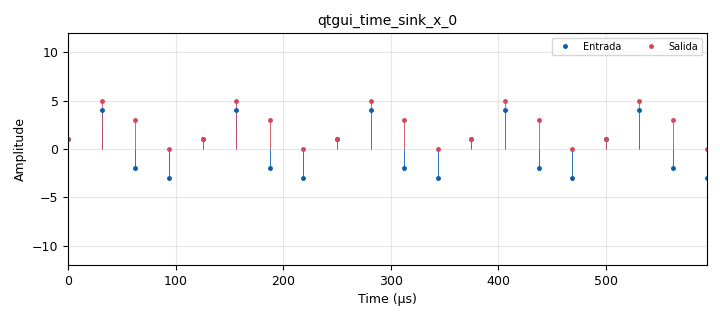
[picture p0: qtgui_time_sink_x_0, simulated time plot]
options:
  parameters:
    author: Gabriela
    copyright: UIS
    description: ejemplo de un acumulador
    generate_options: qt_gui
    id: miprimer
    output_language: python
    title: miprimer
  states: {}

blocks:
- name: samp_rate
  id: variable
  parameters:
    value: '32000'
  states: {}
- name: blocks_vector_source_x_0
  id: blocks_vector_source_x
  parameters:
    repeat: 'True'
    type: float
    vector: (1,4,-2,-3)
  states: {}
- name: epy_block_0
  id: epy_block
  parameters:
    _source_code: "import numpy as np\nfrom gnuradio import gr\n\n\nclass blk(gr.sync_block):  \n\n\n\tdef __init__(self,):  \n\t\t\"\"\"Bloque acumulador simplemente toma la senal entrante y entrega una senal acumulada\"\"\"\n\t\tgr.sync_block.__init__( \n\t\tself,\n\t\tname='Acumulador',\n\t\tin_sig=[np.float32],\n\t\tout_sig=[np.float32]\n\t\t)\n\t\tself.acum_anterior=0\n\n\tdef work(self, input_items, output_items):\n\t\tx=input_items[0]\n\t\ty=output_items[0]\n\t\tN=len(x)\n\t\ty[:]=self.acum_anterior+np.cumsum(x)#se usa esto debido a que se quiere saber el acumulado de toda \t\t\t#la señal no solo el de un vector\n\t\tself.acum_anterior=y[N-1]\n\t\treturn len(x)\n\n      \n"
  states: {}
- name: qtgui_time_sink_x_0
  id: qtgui_time_sink_x
  parameters:
    label1: Entrada
    label2: Salida
    marker1: '0'
    marker2: '2'
    nconnections: '2'
    size: '20'
    srate: samp_rate
    stemplot: 'True'
    type: float
    width1: '4'
    width2: '4'
    ymax: '12'
    ymin: '-12'
  states: {}

connections:
- [blocks_vector_source_x_0, '0', epy_block_0, '0']
- [blocks_vector_source_x_0, '0', qtgui_time_sink_x_0, '0']
- [epy_block_0, '0', qtgui_time_sink_x_0, '1']

metadata:
  file_format: 1
